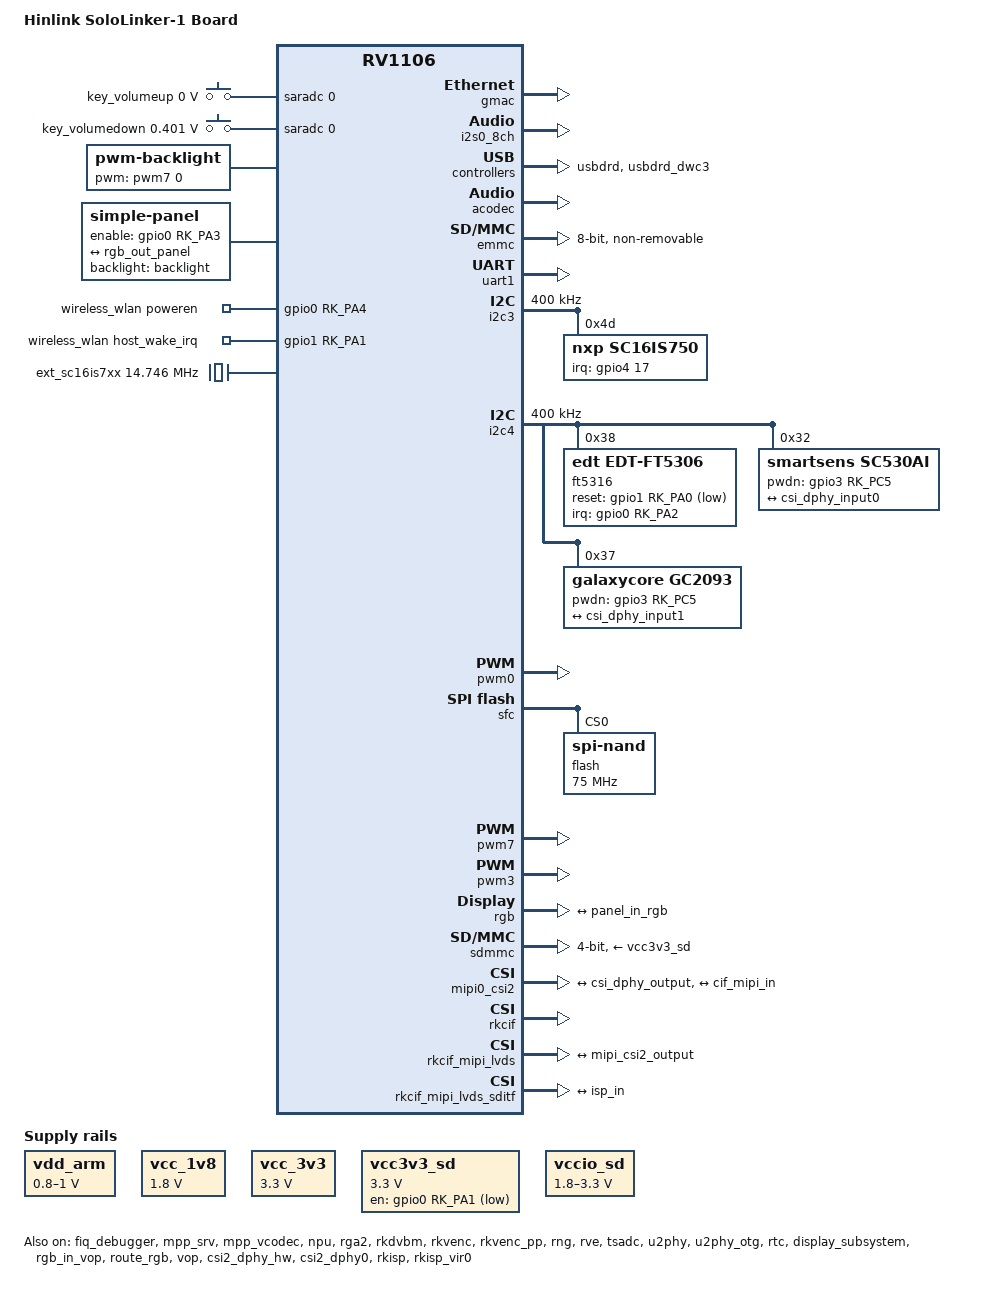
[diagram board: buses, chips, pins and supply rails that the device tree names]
// SPDX-License-Identifier: (GPL-2.0+ OR MIT)
/*
 * Copyright (c) 2022 Rockchip Electronics Co., Ltd.
 */

/dts-v1/;

#include "rv1106.dtsi"
#include "rv1106-amp.dtsi"
#include <dt-bindings/input/input.h>
#include <dt-bindings/display/media-bus-format.h>

/ {
    model = "Hinlink SoloLinker-1 Board";
	compatible = "rockchip,rv1106g-evb1-v11", "rockchip,rv1106";

	chosen {
		bootargs = "earlycon=uart8250,mmio32,0xff4c0000 console=ttyFIQ0 root=/dev/mmcblk0p5 rootfstype=ext4 rootwait snd_soc_core.prealloc_buffer_size_kbytes=16 coherent_pool=0 net.ifnames=0 biosdevname=0";
	};

	acodec_sound: acodec-sound {
		compatible = "simple-audio-card";
		simple-audio-card,name = "rv1106-acodec";
		simple-audio-card,format = "i2s";
		simple-audio-card,mclk-fs = <256>;
		simple-audio-card,cpu {
			sound-dai = <&i2s0_8ch>;
		};
		simple-audio-card,codec {
			sound-dai = <&acodec>;
		};
	};

	dsm_sound: dsm-sound {
		status = "disabled";
		compatible = "simple-audio-card";
		simple-audio-card,format = "i2s";
		simple-audio-card,mclk-fs = <256>;
		simple-audio-card,name = "rockchip,dsm-sound";
		simple-audio-card,bitclock-master = <&sndcodec>;
		simple-audio-card,frame-master = <&sndcodec>;
		sndcpu: simple-audio-card,cpu {
			sound-dai = <&i2s0_8ch>;
		};
		sndcodec: simple-audio-card,codec {
			sound-dai = <&dsm>;
		};
	};

	vdd_arm: vdd-arm {
		compatible = "pwm-regulator";
		pwms = <&pwm0 0 5000 1>;
		regulator-name = "vdd_arm";
		regulator-min-microvolt = <724000>;
		regulator-max-microvolt = <1078000>;
		regulator-init-microvolt = <950000>;
		regulator-always-on;
		regulator-boot-on;
		regulator-settling-time-up-us = <250>;
	};

	adc-keys {
		compatible = "adc-keys";
		io-channels = <&saradc 0>;
		io-channel-names = "buttons";
		poll-interval = <100>;
		keyup-threshold-microvolt = <1800000>;

		key_volumeup-key {
			label = "key_volumeup";
			linux,code = <KEY_VOLUMEUP>;
			press-threshold-microvolt = <0>;
		};

		key_volumedown-key {
			label = "key_volumedown";
			linux,code = <KEY_VOLUMEDOWN>;
			press-threshold-microvolt = <400781>;
		};
	};

	restart-poweroff {
		compatible = "restart-poweroff";
	};

	backlight: backlight {
		status = "okay";
		compatible = "pwm-backlight";
		pwms = <&pwm7 0 25000 0>;
		brightness-levels = <
			  0   1   2   3   4   5   6   7
			  8   9  10  11  12  13  14  15
			 16  17  18  19  20  21  22  23
			 24  25  26  27  28  29  30  31
			 32  33  34  35  36  37  38  39
			 40  41  42  43  44  45  46  47
			 48  49  50  51  52  53  54  55
			 56  57  58  59  60  61  62  63
			 64  65  66  67  68  69  70  71
			 72  73  74  75  76  77  78  79
			 80  81  82  83  84  85  86  87
			 88  89  90  91  92  93  94  95
			 96  97  98  99 100 101 102 103
			104 105 106 107 108 109 110 111
			112 113 114 115 116 117 118 119
			120 121 122 123 124 125 126 127
			128 129 130 131 132 133 134 135
			136 137 138 139 140 141 142 143
			144 145 146 147 148 149 150 151
			152 153 154 155 156 157 158 159
			160 161 162 163 164 165 166 167
			168 169 170 171 172 173 174 175
			176 177 178 179 180 181 182 183
			184 185 186 187 188 189 190 191
			192 193 194 195 196 197 198 199
			200 201 202 203 204 205 206 207
			208 209 210 211 212 213 214 215
			216 217 218 219 220 221 222 223
			224 225 226 227 228 229 230 231
			232 233 234 235 236 237 238 239
			240 241 242 243 244 245 246 247
			248 249 250 251 252 253 254 255>;
		default-brightness-level = <255>;
	};

	panel: panel {
		compatible = "simple-panel";
		backlight = <&backlight>;
        enable-gpios = <&gpio0 RK_PA3 GPIO_ACTIVE_HIGH>;
        enable-delay-ms = <20>;
		status = "okay";

		bus-format = <MEDIA_BUS_FMT_RGB666_1X18>;
        width-mm = <85>;
        height-mm = <85>;

		display-timings {
			native-mode = <&timing0>;

			timing0: timing0 {
				clock-frequency = <16500000>;
				hactive = <480>;
				vactive = <480>;
				hback-porch = <43>;
				hfront-porch = <8>;
				vback-porch = <15>;
				vfront-porch = <12>;
				hsync-len = <4>;
				vsync-len = <10>; //value range <2~22>
				hsync-active = <0>;
				vsync-active = <0>;
				de-active = <0>;
				pixelclk-active = <1>;
			};
		};

		port {
			panel_in_rgb: endpoint {
				remote-endpoint = <&rgb_out_panel>;
			};
		};
	};

	reserved-memory {
		#address-cells = <1>;
		#size-cells = <1>;
		ranges;
		drm_logo: drm-logo@00000000 {
			compatible = "rockchip,drm-logo";
			reg = <0x0 0x0>;
		};
	};

	vcc_1v8: vcc-1v8 {
		compatible = "regulator-fixed";
		regulator-name = "vcc_1v8";
		regulator-always-on;
		regulator-boot-on;
		regulator-min-microvolt = <1800000>;
		regulator-max-microvolt = <1800000>;
	};

	vcc_3v3: vcc-3v3 {
		compatible = "regulator-fixed";
		regulator-name = "vcc_3v3";
		regulator-always-on;
		regulator-boot-on;
		regulator-min-microvolt = <3300000>;
		regulator-max-microvolt = <3300000>;
	};

	vcc3v3_sd: vcc3v3-sd {
		compatible = "regulator-fixed";
		gpio = <&gpio0 RK_PA1 GPIO_ACTIVE_LOW>;
		regulator-name = "vcc3v3_sd";
		regulator-min-microvolt = <3300000>;
		regulator-max-microvolt = <3300000>;
		pinctrl-names = "default";
		pinctrl-0 = <&sdmmc_pwren>;
	};

	vccio_sd: vccio-sd {
		compatible = "regulator-gpio";
		regulator-name = "vccio_sd";
		regulator-min-microvolt = <1800000>;
		regulator-max-microvolt = <3300000>;
		/* gpios = <&gpio0 RK_PA3 GPIO_ACTIVE_HIGH>; */
		states = <3300000 1
			  1800000 0>;
		/* pinctrl-names = "default"; */
		/* pinctrl-0 = <&sdmmc_volt>; */
	};

	wireless_wlan: wireless-wlan {
		compatible = "wlan-platdata";
        wifi_chip_type = "AIC8800D0";
		pinctrl-names = "default";
		pinctrl-0 = <&wifi_host_wake_irq>;
        WIFI,poweren_gpio = <&gpio0 RK_PA4 GPIO_ACTIVE_HIGH>;
		WIFI,host_wake_irq = <&gpio1 RK_PA1 GPIO_ACTIVE_HIGH>;
		status = "okay";
	};

    ext_sc16is7xx: external-sc16is7xx-clock {
        compatible = "fixed-clock";
        clock-frequency = <14745600>;
        clock-output-names = "ext_sc16is7xx";
        #clock-cells = <0>;
    };
};

&fiq_debugger {
	rockchip,irq-mode-enable = <1>;
	status = "okay";
};

&gmac {
	status = "okay";
};

&i2s0_8ch {
	status = "okay";
};

&mpp_srv {
	status = "okay";
};

&mpp_vcodec {
	status = "okay";
};

&npu {
	status = "okay";
};

&rga2 {
	status = "okay";
};

&rkdvbm {
	status = "okay";
};

&rkvenc {
	status = "okay";
};

&rkvenc_pp {
	status = "okay";
};

&rmii_phy {
	bgs,increment = <0>;
};

&rng {
	status = "okay";
};

&rve {
	status = "okay";
};

&tsadc {
	status = "okay";
};

&u2phy {
	status = "okay";
};

&u2phy_otg {
	status = "okay";
};

&usbdrd {
	status = "okay";
};

&usbdrd_dwc3 {
    extcon = <&u2phy>;
	status = "okay";
    /* dr_mode = "host"; */
};

&acodec {
	#sound-dai-cells = <0>;
	/* pa-ctl-gpios = <&gpio1 RK_PA1 GPIO_ACTIVE_HIGH>; */
	status = "okay";
};

&cpu0 {
	cpu-supply = <&vdd_arm>;
};

&emmc {
	bus-width = <8>;
	cap-mmc-highspeed;
	non-removable;
	mmc-ddr-1_8v;
	mmc-hs200-1_8v;
	rockchip,default-sample-phase = <90>;
	no-sdio;
	no-sd;
	status = "okay";
};

&dsm {
	status = "disabled";
};

&uart1 {
    status = "okay";
    pinctrl-0 = <&uart1m0_xfer &uart1m0_ctsn>;
};

&i2c3 {
    status = "okay";
    clock-frequency = <400000>;
    pinctrl-names = "default";
    pinctrl-0 = <&i2c3m2_xfer>;

    sc16is750: sc16is750@4d {
        compatible = "nxp,sc16is750";
        reg = <0x4d>;
        clocks = <&ext_sc16is7xx>;
        interrupt-parent = <&gpio4>;
        interrupts = <17 IRQ_TYPE_EDGE_FALLING>;
        gpio-controller;
        #gpio-cells = <2>;
    };
};


&i2c4 {
    status = "okay";
    clock-frequency = <400000>;
    pinctrl-names = "default";
    pinctrl-0 = <&i2c4m2_xfer>;

    ft5316: touchscreen@38 {
        compatible = "edt,edt-ft5306";
        reg = <0x38>;
        interrupt-parent = <&gpio0>;
        interrupts = <RK_PA2 IRQ_TYPE_EDGE_FALLING>;
        pinctrl-names = "default";
        pinctrl-0 = <&tp_int &tp_rst>;
        reset-gpios = <&gpio1 RK_PA0 GPIO_ACTIVE_LOW>;
        touchscreen-size-y = <480>;
        touchscreen-size-x = <480>;
    };

	sc530ai: sc530ai@32 {
		compatible = "smartsens,sc530ai";
		status = "okay";
		reg = <0x32>;
		clocks = <&cru MCLK_REF_MIPI0>;
		clock-names = "xvclk";
		pwdn-gpios = <&gpio3 RK_PC5 GPIO_ACTIVE_HIGH>;
		pinctrl-names = "default";
		pinctrl-0 = <&mipi_refclk_out0>;
		rockchip,camera-module-index = <0>;
		rockchip,camera-module-facing = "back";
		rockchip,camera-module-name = "CMK-OT2115-PC1";
		rockchip,camera-module-lens-name = "30IRC-F16";
		port {
			sc530ai_out: endpoint {
				remote-endpoint = <&csi_dphy_input0>;
				data-lanes = <1 2>;
			};
		};
	};

	gc2093: gc2093@37 {
        compatible = "galaxycore,gc2093";
		status = "okay";
		reg = <0x37>;
		clocks = <&cru MCLK_REF_MIPI0>;
		clock-names = "xvclk";
		pwdn-gpios = <&gpio3 RK_PC5 GPIO_ACTIVE_HIGH>;
		pinctrl-names = "default";
		pinctrl-0 = <&mipi_refclk_out0>;
        rockchip,camera-module-index = <0>;
        rockchip,camera-module-facing = "back";
        rockchip,camera-module-name = "SIDA209300461";
        rockchip,camera-module-lens-name = "60IRC_F20";
		port {
			gc2093_out: endpoint {
				remote-endpoint = <&csi_dphy_input1>;
				data-lanes = <1 2>;
			};
		};
	};
};

&i2s0_8ch {
	#sound-dai-cells = <0>;
	status = "okay";
};

&pwm0 {
	status = "okay";
};

&rtc {
	status = "okay";
};

&sfc {
	status = "okay";

	flash@0 {
		compatible = "spi-nand";
		reg = <0>;
		spi-max-frequency = <75000000>;
		spi-rx-bus-width = <4>;
		spi-tx-bus-width = <1>;
	};
};

&vdd_arm {
	regulator-min-microvolt = <800000>;
	regulator-max-microvolt = <1000000>;
	regulator-init-microvolt = <900000>;
};

&pwm7 {
	status = "okay";
	pinctrl-names = "active";
	pinctrl-0 = <&pwm7m1_pins>;
};

&display_subsystem {
	status = "okay";
	logo-memory-region = <&drm_logo>;
};

&pwm3 {
	status = "okay";
	pinctrl-names = "active";
	pinctrl-0 = <&pwm3m1_pins>;
};

&rgb {
	status = "okay";
	pinctrl-names = "default";
	pinctrl-0 = <&lcd_pins>;

	ports {
		rgb_out: port@1 {
			reg = <1>;
			#address-cells = <1>;
			#size-cells = <0>;

            rgb_out_panel: endpoint@0 {
                reg = <0>;
                remote-endpoint = <&panel_in_rgb>;
            };
		};
	};
};

&rgb_in_vop {
	status = "okay";
};

&route_rgb {
    status = "okay";
};

&vop {
	status = "okay";
};

&pinctrl {
	sdmmc {
		/omit-if-no-ref/
		sdmmc_pwren: sdmmc-pwren {
			rockchip,pins = <0 RK_PA1 RK_FUNC_GPIO &pcfg_pull_none>;
		};
	};

	wireless-wlan {
		wifi_host_wake_irq: wifi-host-wake-irq {
			rockchip,pins = <1 RK_PA1 RK_FUNC_GPIO &pcfg_pull_none>;
		};
	};

    ft5606 {
        tp_int: tp-int {
            rockchip,pins = <0 RK_PA2 RK_FUNC_GPIO &pcfg_pull_up>;
        };

        tp_rst: tp-rst {
            rockchip,pins = <1 RK_PA0 RK_FUNC_GPIO &pcfg_pull_none>;
        };
    };
};

&sdmmc {
	max-frequency = <200000000>;
	no-sdio;
	no-mmc;
	bus-width = <4>;
	cap-mmc-highspeed;
	cap-sd-highspeed;
	disable-wp;
	pinctrl-names = "normal", "idle";
	pinctrl-0 = <&sdmmc0_clk &sdmmc0_cmd &sdmmc0_det &sdmmc0_bus4>;
	pinctrl-1 = <&sdmmc0_idle_pins &sdmmc0_det>;
	sd-uhs-sdr12;
	sd-uhs-sdr25;
	sd-uhs-sdr50;
	sd-uhs-sdr104;
	vmmc-supply = <&vcc3v3_sd>;
	vqmmc-supply = <&vccio_sd>;
	status = "okay";
};

&csi2_dphy_hw {
	status = "okay";
};

&csi2_dphy0 {
	status = "okay";

	ports {
		#address-cells = <1>;
		#size-cells = <0>;

		port@0 {
			reg = <0>;
			#address-cells = <1>;
			#size-cells = <0>;

			csi_dphy_input0: endpoint@0 {
				reg = <0>;
				remote-endpoint = <&sc530ai_out>;
				data-lanes = <1 2>;
			};
			csi_dphy_input1: endpoint@1 {
				reg = <1>;
				remote-endpoint = <&gc2093_out>;
				data-lanes = <1 2>;
			};
		};

		port@1 {
			reg = <1>;
			#address-cells = <1>;
			#size-cells = <0>;

			csi_dphy_output: endpoint@0 {
				reg = <0>;
				remote-endpoint = <&mipi_csi2_input>;
			};
		};
	};
};

&mipi0_csi2 {
	status = "okay";

	ports {
		#address-cells = <1>;
		#size-cells = <0>;

		port@0 {
			reg = <0>;
			#address-cells = <1>;
			#size-cells = <0>;

			mipi_csi2_input: endpoint@1 {
				reg = <1>;
				remote-endpoint = <&csi_dphy_output>;
			};
		};

		port@1 {
			reg = <1>;
			#address-cells = <1>;
			#size-cells = <0>;

			mipi_csi2_output: endpoint@0 {
				reg = <0>;
				remote-endpoint = <&cif_mipi_in>;
			};
		};
	};
};

&rkcif {
	status = "okay";
};

&rkcif_mipi_lvds {
	status = "okay";

	pinctrl-names = "default";
	pinctrl-0 = <&mipi_pins>;
	port {
		/* MIPI CSI-2 endpoint */
		cif_mipi_in: endpoint {
			remote-endpoint = <&mipi_csi2_output>;
		};
	};
};

&rkcif_mipi_lvds_sditf {
	status = "okay";

	port {
		/* MIPI CSI-2 endpoint */
		mipi_lvds_sditf: endpoint {
			remote-endpoint = <&isp_in>;
		};
	};
};

&rkisp {
	status = "okay";
};

&rkisp_vir0 {
	status = "okay";

	port@0 {
		isp_in: endpoint {
			remote-endpoint = <&mipi_lvds_sditf>;
		};
	};
};

